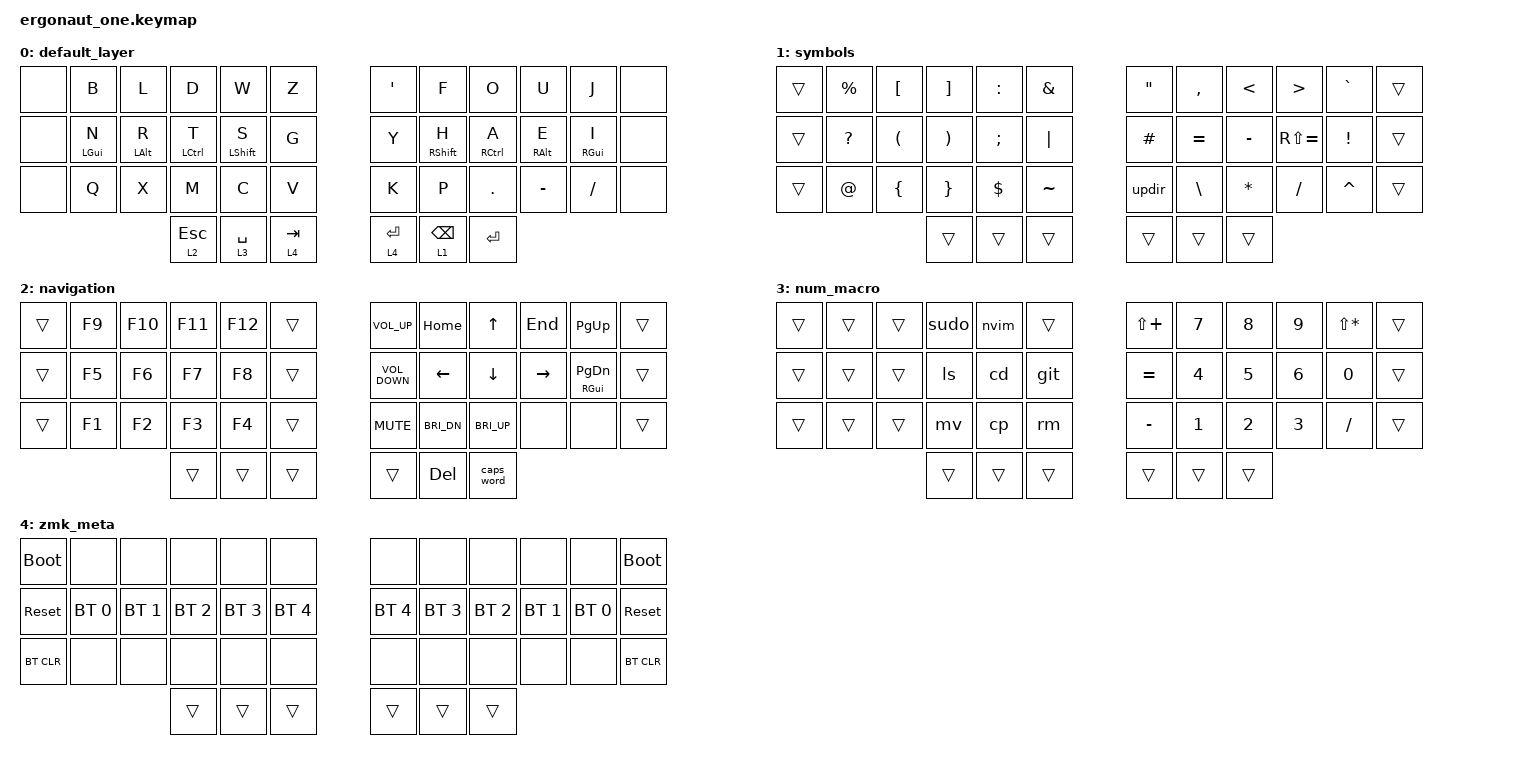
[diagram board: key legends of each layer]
#include <behaviors.dtsi>
#include <dt-bindings/zmk/bt.h>
#include <dt-bindings/zmk/keys.h>

#define DEF 0
#define LWR 1
#define RSE 2
#define ADJ 3

&lt {
    quick-tap-ms = <150>;
    tapping-term-ms = <150>;
};

&mt {
    quick-tap-ms = <150>;
    tapping-term-ms = <150>;
};

/ {
    conditional_layers { compatible = "zmk,conditional-layers"; };

    hml: homerow_mods_left {
        compatible = "zmk,behavior-hold-tap";
        #binding-cells = <2>;
        flavor = "balanced";
        tapping-term-ms = <350>;
        quick-tap-ms = <200>;
        require-prior-idle-ms = <100>;
        bindings = <&kp>, <&kp>;

        hold-trigger-on-release;
    };

    hmr: homerow_mods_right {
        compatible = "zmk,behavior-hold-tap";
        #binding-cells = <2>;
        flavor = "balanced";
        tapping-term-ms = <350>;
        quick-tap-ms = <200>;
        require-prior-idle-ms = <100>;
        bindings = <&kp>, <&kp>;

        hold-trigger-on-release;
    };

    hml_shft: homerow_mods_left_shift {
        compatible = "zmk,behavior-hold-tap";
        #binding-cells = <2>;
        flavor = "balanced";
        tapping-term-ms = <350>;
        quick-tap-ms = <200>;
        require-prior-idle-ms = <0>;
        bindings = <&kp>, <&kp>;

        hold-trigger-key-positions = <6 7 8 9 10 11 18 19 20 21 22 23 30 31 32 33 34 35 6 7 8 9 10 18 19 20 21 22 30 31 32 33 34 39 40 41>;
        hold-trigger-on-release;
    };

    hmr_shft: homerow_mods_right_shift {
        compatible = "zmk,behavior-hold-tap";
        #binding-cells = <2>;
        flavor = "balanced";
        tapping-term-ms = <350>;
        quick-tap-ms = <200>;
        require-prior-idle-ms = <0>;
        bindings = <&kp>, <&kp>;

        hold-trigger-key-positions = <0 1 2 3 4 5 12 13 14 15 16 17 24 25 26 27 28 29 36 37 38>;
        hold-trigger-on-release;
    };

    lt_th: layer_tap_thumbs {
        compatible = "zmk,behavior-hold-tap";
        flavor = "hold-preferred";
        tapping-term-ms = <200>;
        quick-tap-ms = <200>;
        #binding-cells = <2>;
        bindings = <&mo>, <&kp>;
    };

    behaviors {
    };

    macros {
        cd: cd {
            compatible = "zmk,behavior-macro";
            #binding-cells = <0>;
            bindings = <&kp C &kp D &kp SPACE>;
            label = "CD";
        };

        ls: ls_lzha {
            compatible = "zmk,behavior-macro";
            #binding-cells = <0>;
            bindings = <&kp L &kp S &kp SPACE>;
            label = "LS_LZHA";
        };

        nvim: nvim {
            compatible = "zmk,behavior-macro";
            #binding-cells = <0>;
            bindings = <&kp V &kp I &kp M &kp SPACE>;
            label = "NVIM";
        };

        ssh: ssh {
            compatible = "zmk,behavior-macro";
            #binding-cells = <0>;
            bindings = <&kp S &kp S &kp H &kp SPACE>;
            label = "SSH";
        };

        sudo: sudo {
            compatible = "zmk,behavior-macro";
            #binding-cells = <0>;
            bindings = <&kp S &kp U &kp D &kp O &kp SPACE>;
            label = "SUDO";
        };

        git: git {
            compatible = "zmk,behavior-macro";
            #binding-cells = <0>;
            bindings = <&kp G &kp I &kp T &kp SPACE>;
            label = "GIT";
        };

        updir: updir {
            compatible = "zmk,behavior-macro";
            #binding-cells = <0>;
            bindings = <&kp DOT &kp DOT &kp FSLH>;
            label = "UPDIR";
        };

        mv: mv {
            compatible = "zmk,behavior-macro";
            #binding-cells = <0>;
            bindings = <&kp M &kp V &kp SPACE>;
            label = "MV";
        };

        cp: cp {
            compatible = "zmk,behavior-macro";
            #binding-cells = <0>;
            bindings = <&kp C &kp P &kp SPACE>;
            label = "CP";
        };

        rm: rm {
            compatible = "zmk,behavior-macro";
            #binding-cells = <0>;
            bindings = <&kp R &kp M &kp SPACE>;
            label = "RM";
        };
    };

    combos { compatible = "zmk,combos"; };

    keymap {
        compatible = "zmk,keymap";

        default_layer {
            bindings = <
&none  &kp B            &kp L            &kp D         &kp W              &kp Z      &kp APOS     &kp F               &kp O         &kp U        &kp J        &none
&none  &hml LEFT_GUI N  &hml LEFT_ALT R  &hml LCTRL T  &hml_shft LSHFT S  &kp G      &kp Y        &hmr_shft RSHIFT H  &hmr RCTRL A  &hmr RALT E  &hmr RGUI I  &none
&none  &kp Q            &kp X            &kp M         &kp C              &kp V      &kp K        &kp P               &kp DOT       &kp MINUS    &kp FSLH     &none
                                         &lt 2 ESC     &lt 3 SPACE        &lt 4 TAB  &lt 4 ENTER  &lt_th 1 BACKSPACE  &kp RET
            >;
        };

        symbols {
            bindings = <
&trans  &kp PERCENT  &kp LBKT              &kp RBKT               &kp COLON   &kp AMPERSAND  &kp DOUBLE_QUOTES  &kp COMMA  &kp LESS_THAN  &kp GREATER_THAN  &kp GRAVE  &trans
&trans  &kp QMARK    &kp LEFT_PARENTHESIS  &kp RIGHT_PARENTHESIS  &kp SEMI    &kp PIPE       &kp HASH           &kp EQUAL  &kp MINUS      &kp RS(EQUAL)     &kp EXCL   &trans
&trans  &kp AT       &kp LEFT_BRACE        &kp RIGHT_BRACE        &kp DOLLAR  &kp TILDE      &updir             &kp BSLH   &kp ASTERISK   &kp FSLH          &kp CARET  &trans
                                           &trans                 &trans      &trans         &trans             &trans     &trans
            >;
        };

        navigation {
            bindings = <
&trans  &kp F9  &kp F10  &kp F11  &kp F12  &trans  &kp C_VOLUME_UP    &kp HOME      &kp UP        &kp END    &kp PG_UP        &trans
&trans  &kp F5  &kp F6   &kp F7   &kp F8   &trans  &kp C_VOLUME_DOWN  &kp LEFT      &kp DOWN      &kp RIGHT  &hmr RGUI PG_DN  &trans
&trans  &kp F1  &kp F2   &kp F3   &kp F4   &trans  &kp K_MUTE         &kp C_BRI_DN  &kp C_BRI_UP  &none      &none            &trans
                         &trans   &trans   &trans  &trans             &kp DEL       &caps_word
            >;
        };

        num_macro {
            bindings = <
&trans  &trans  &trans  &sudo   &nvim   &trans  &kp LS(PLUS)  &kp N7  &kp N8  &kp N9  &kp LS(STAR)  &trans
&trans  &trans  &trans  &ls     &cd     &git    &kp EQUAL     &kp N4  &kp N5  &kp N6  &kp N0        &trans
&trans  &trans  &trans  &mv     &cp     &rm     &kp MINUS     &kp N1  &kp N2  &kp N3  &kp FSLH      &trans
                        &trans  &trans  &trans  &trans        &trans  &trans
            >;
        };

        zmk_meta {
            bindings = <
&bootloader  &none         &none         &none         &none         &none         &none         &none         &none         &none         &none         &bootloader
&sys_reset   &bt BT_SEL 0  &bt BT_SEL 1  &bt BT_SEL 2  &bt BT_SEL 3  &bt BT_SEL 4  &bt BT_SEL 4  &bt BT_SEL 3  &bt BT_SEL 2  &bt BT_SEL 1  &bt BT_SEL 0  &sys_reset
&bt BT_CLR   &none         &none         &none         &none         &none         &none         &none         &none         &none         &none         &bt BT_CLR
                                         &trans        &trans        &trans        &trans        &trans        &trans
            >;
        };
    };
};
